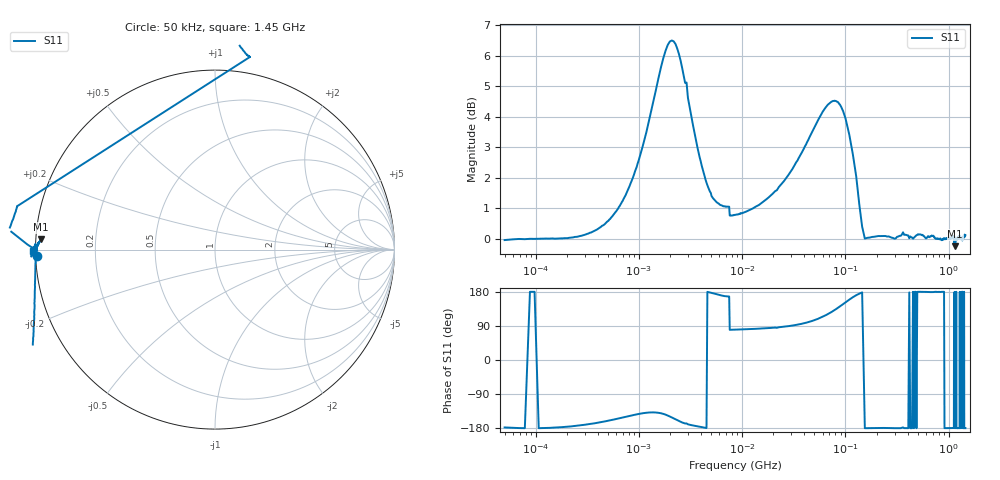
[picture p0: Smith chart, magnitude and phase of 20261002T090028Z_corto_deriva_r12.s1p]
! piloto_deriva / corto_deriva / r12
# HZ S RI R 50
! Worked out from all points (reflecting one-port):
!   501 points, 50 kHz to 1.45 GHz, reference 50 ohm
!   lowest |S11| = -0.2 dB at 1.157 GHz (marker M1), VSWR 70.60, Z = 0.709 + j1.47 ohm
!   phase of S11 starts at -178 deg and turns -2 deg over the sweep
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50000  -0.9941 -0.0351
183000  -0.9999 -0.0521
373000  -1.004 -0.2329
658000  -1.014 -0.5103
1180000  -1.132 -0.9758
1630000  -1.471 -1.214
1990000  -1.806 -1.081
2170000  -1.896 -0.917
2440000  -1.9 -0.6475
3160000  -1.594 -0.2421
4330000  -1.264 -0.0285
7300000  -1.103 0.2424
7750000  0.1946 1.073
8560000  0.1872 1.078
1.99e7  0.1016 1.182
3.16e7  -0.0349 1.312
4.69e7  -0.3226 1.454
6.76e7  -0.8607 1.418
7.93e7  -1.14 1.237
9.37e7  -1.355 0.8987
9.82e7  -1.385 0.784
1e8  -1.392 0.7384
1.18e8  -1.331 0.3383
1.36e8  -1.135 0.0997
1.63e8  -1.003 -0.00311
4.06e8  -1.012 -0.00307
1.1575e9  -0.9704 0.0572
1.45e9  -1.013 -0.00551
